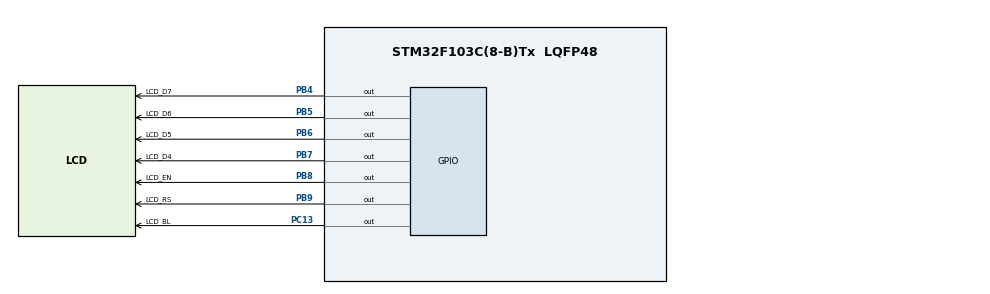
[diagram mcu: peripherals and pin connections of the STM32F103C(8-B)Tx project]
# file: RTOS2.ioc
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FREERTOS.BinarySemaphores01=myLCDSem,Dynamic,NULL,Available
FREERTOS.Tasks01=defaultTask,0,128,StartDefaultTask,Default,NULL,Dynamic,NULL,NULL;myTask02,-3,128,StartTask02,Default,NULL,Dynamic,NULL,NULL
Mcu.Family=STM32F1
Mcu.Name=STM32F103C(8-B)Tx
Mcu.Package=LQFP48
NVIC.PriorityGroup=NVIC_PRIORITYGROUP_4
PB4.GPIO_Label=LCD_D7
PB4.Signal=GPIO_Output
PB5.GPIO_Label=LCD_D6
PB5.Signal=GPIO_Output
PB6.GPIO_Label=LCD_D5
PB6.Signal=GPIO_Output
PB7.GPIO_Label=LCD_D4
PB7.Signal=GPIO_Output
PB8.GPIO_Label=LCD_EN
PB8.Signal=GPIO_Output
PB9.GPIO_Label=LCD_RS
PB9.Signal=GPIO_Output
PC13-TAMPER-RTC.GPIO_Label=LCD_BL
PC13-TAMPER-RTC.Signal=GPIO_Output
PD0-OSC_IN.Mode=HSE-External-Oscillator
PD0-OSC_IN.Signal=RCC_OSC_IN
PD1-OSC_OUT.Mode=HSE-External-Oscillator
PD1-OSC_OUT.Signal=RCC_OSC_OUT
ProjectManager.HeapSize=0x200
ProjectManager.StackSize=0x400
ProjectManager.TargetToolchain=STM32CubeIDE
RCC.APB1Freq_Value=8000000
RCC.APB2Freq_Value=8000000
VP_FREERTOS_VS_CMSIS_V1.Mode=CMSIS_V1
VP_SYS_VS_ND.Mode=No_Debug
board=custom

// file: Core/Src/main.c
/* USER CODE BEGIN Header */
/**
  ******************************************************************************
  * @file           : main.c
  * @brief          : Main program body
  ******************************************************************************
  * @attention
  *
  * Copyright (c) 2026 STMicroelectronics.
  * All rights reserved.
  ******************************************************************************
  */
/* USER CODE END Header */
#include "main.h"
#include "cmsis_os.h"

/* USER CODE BEGIN Includes */
#include <stdio.h>
/* USER CODE END Includes */

osThreadId defaultTaskHandle;
osThreadId myTask02Handle;
osSemaphoreId myLCDSemHandle;
/* USER CODE BEGIN PV */
uint32_t count1 = 0;
uint32_t count2 = 0;
char buf[16];
/* USER CODE END PV */

void SystemClock_Config(void);
static void MX_GPIO_Init(void);
void StartDefaultTask(void const * argument);
void StartTask02(void const * argument);

/* USER CODE BEGIN 0 */

static void lcd_enable_pulse(void)
{
    HAL_GPIO_WritePin(LCD_EN_GPIO_Port, LCD_EN_Pin, GPIO_PIN_SET);
    HAL_Delay(1);
    HAL_GPIO_WritePin(LCD_EN_GPIO_Port, LCD_EN_Pin, GPIO_PIN_RESET);
    HAL_Delay(1);
}

static void lcd_send4(uint8_t nibble)
{
    HAL_GPIO_WritePin(LCD_D4_GPIO_Port, LCD_D4_Pin, (nibble & 0x01) ? GPIO_PIN_SET : GPIO_PIN_RESET);
    HAL_GPIO_WritePin(LCD_D5_GPIO_Port, LCD_D5_Pin, (nibble & 0x02) ? GPIO_PIN_SET : GPIO_PIN_RESET);
    HAL_GPIO_WritePin(LCD_D6_GPIO_Port, LCD_D6_Pin, (nibble & 0x04) ? GPIO_PIN_SET : GPIO_PIN_RESET);
    HAL_GPIO_WritePin(LCD_D7_GPIO_Port, LCD_D7_Pin, (nibble & 0x08) ? GPIO_PIN_SET : GPIO_PIN_RESET);
    lcd_enable_pulse();
}

void lcd_cmd(uint8_t cmd)
{
    HAL_GPIO_WritePin(LCD_RS_GPIO_Port, LCD_RS_Pin, GPIO_PIN_RESET);
    lcd_send4(cmd >> 4);
    lcd_send4(cmd & 0x0F);
    HAL_Delay(2);
}

void lcd_data(uint8_t data)
{
    HAL_GPIO_WritePin(LCD_RS_GPIO_Port, LCD_RS_Pin, GPIO_PIN_SET);
    lcd_send4(data >> 4);
    lcd_send4(data & 0x0F);
    HAL_Delay(1);
}

void lcd_goto(uint8_t row, uint8_t col)
{
    uint8_t address = (row == 0) ? (0x80 + col) : (0xC0 + col);
    lcd_cmd(address);
}

void lcd_puts(char *str)
{
    while (*str)
    {
        lcd_data((uint8_t)*str);
        str++;
    }
}

void lcd_init(void)
{
    HAL_Delay(50);
    HAL_GPIO_WritePin(LCD_RS_GPIO_Port, LCD_RS_Pin, GPIO_PIN_RESET);

    lcd_send4(0x03);
    HAL_Delay(5);
    lcd_send4(0x03);
    HAL_Delay(1);
    lcd_send4(0x03);
    HAL_Delay(1);
    lcd_send4(0x02);
    HAL_Delay(1);

    lcd_cmd(0x28);   // 4-bit, 2-line, 5x8 font
    lcd_cmd(0x0C);   // display ON, cursor OFF
    lcd_cmd(0x06);   // entry mode
    lcd_cmd(0x01);   // clear
    HAL_Delay(5);
}

/* USER CODE END 0 */

int main(void)
{

  /* MCU Configuration--------------------------------------------------------*/

  /* Reset of all peripherals, Initializes the Flash interface and the Systick. */
  HAL_Init();

  /* Configure the system clock */
  SystemClock_Config();

  /* Initialize all configured peripherals */
  MX_GPIO_Init();
  /* USER CODE BEGIN 2 */
  lcd_init();
  HAL_GPIO_WritePin(LCD_BL_GPIO_Port, LCD_BL_Pin, GPIO_PIN_SET);   // backlight on
  /* USER CODE END 2 */

  /* Create the semaphores(s) */
  /* definition and creation of myLCDSem */
  osSemaphoreDef(myLCDSem);
  myLCDSemHandle = osSemaphoreCreate(osSemaphore(myLCDSem), 1);

  /* Create the thread(s) */
  /* definition and creation of defaultTask */
  osThreadDef(defaultTask, StartDefaultTask, osPriorityNormal, 0, 128);
  defaultTaskHandle = osThreadCreate(osThread(defaultTask), NULL);

  /* definition and creation of myTask02 */
  osThreadDef(myTask02, StartTask02, osPriorityIdle, 0, 128);
  myTask02Handle = osThreadCreate(osThread(myTask02), NULL);

  /* Start scheduler */
  osKernelStart();

  /* We should never get here as control is now taken by the scheduler */

  /* Infinite loop */
  while (1)
  {

  }
}

void SystemClock_Config(void)
{
  RCC_OscInitTypeDef RCC_OscInitStruct = {0};
  RCC_ClkInitTypeDef RCC_ClkInitStruct = {0};

  /** Initializes the RCC Oscillators according to the specified parameters
  * in the RCC_OscInitTypeDef structure.
  */
  RCC_OscInitStruct.OscillatorType = RCC_OSCILLATORTYPE_HSI;
  RCC_OscInitStruct.HSIState = RCC_HSI_ON;
  RCC_OscInitStruct.HSICalibrationValue = RCC_HSICALIBRATION_DEFAULT;
  RCC_OscInitStruct.PLL.PLLState = RCC_PLL_NONE;
  if (HAL_RCC_OscConfig(&RCC_OscInitStruct) != HAL_OK)
  {
    Error_Handler();
  }

  /** Initializes the CPU, AHB and APB buses clocks
  */
  RCC_ClkInitStruct.ClockType = RCC_CLOCKTYPE_HCLK|RCC_CLOCKTYPE_SYSCLK
                              |RCC_CLOCKTYPE_PCLK1|RCC_CLOCKTYPE_PCLK2;
  RCC_ClkInitStruct.SYSCLKSource = RCC_SYSCLKSOURCE_HSI;
  RCC_ClkInitStruct.AHBCLKDivider = RCC_SYSCLK_DIV1;
  RCC_ClkInitStruct.APB1CLKDivider = RCC_HCLK_DIV1;
  RCC_ClkInitStruct.APB2CLKDivider = RCC_HCLK_DIV1;

  if (HAL_RCC_ClockConfig(&RCC_ClkInitStruct, FLASH_LATENCY_0) != HAL_OK)
  {
    Error_Handler();
  }
}

static void MX_GPIO_Init(void)
{
  GPIO_InitTypeDef GPIO_InitStruct = {0};

  /* GPIO Ports Clock Enable */
  __HAL_RCC_GPIOC_CLK_ENABLE();
  __HAL_RCC_GPIOD_CLK_ENABLE();
  __HAL_RCC_GPIOB_CLK_ENABLE();

  /*Configure GPIO pin Output Level */
  HAL_GPIO_WritePin(LCD_BL_GPIO_Port, LCD_BL_Pin, GPIO_PIN_RESET);

  /*Configure GPIO pin Output Level */
  HAL_GPIO_WritePin(GPIOB, LCD_D7_Pin|LCD_D6_Pin|LCD_D5_Pin|LCD_D4_Pin
                          |LCD_EN_Pin|LCD_RS_Pin, GPIO_PIN_RESET);

  /*Configure GPIO pin : LCD_BL_Pin */
  GPIO_InitStruct.Pin = LCD_BL_Pin;
  GPIO_InitStruct.Mode = GPIO_MODE_OUTPUT_PP;
  GPIO_InitStruct.Pull = GPIO_NOPULL;
  GPIO_InitStruct.Speed = GPIO_SPEED_FREQ_LOW;
  HAL_GPIO_Init(LCD_BL_GPIO_Port, &GPIO_InitStruct);

  /*Configure GPIO pins : LCD_D7_Pin LCD_D6_Pin LCD_D5_Pin LCD_D4_Pin
                           LCD_EN_Pin LCD_RS_Pin */
  GPIO_InitStruct.Pin = LCD_D7_Pin|LCD_D6_Pin|LCD_D5_Pin|LCD_D4_Pin
                          |LCD_EN_Pin|LCD_RS_Pin;
  GPIO_InitStruct.Mode = GPIO_MODE_OUTPUT_PP;
  GPIO_InitStruct.Pull = GPIO_NOPULL;
  GPIO_InitStruct.Speed = GPIO_SPEED_FREQ_LOW;
  HAL_GPIO_Init(GPIOB, &GPIO_InitStruct);

}

void StartDefaultTask(void const * argument)
{
  /* USER CODE BEGIN 5 */
  for(;;)
  {
    count1++;
    sprintf(buf, "R1: %4lu", count1);
    lcd_goto(0, 0);
    lcd_puts(buf);
    osDelay(500);
  }
  /* USER CODE END 5 */
}

void StartTask02(void const * argument)
{
  /* USER CODE BEGIN StartTask02 */
  for(;;)
  {
    count2++;
    sprintf(buf, "R2: %4lu", count2);
    lcd_goto(1, 0);
    lcd_puts(buf);
    osDelay(1000);
  }
  /* USER CODE END StartTask02 */
}

void Error_Handler(void)
{
  __disable_irq();
  while (1)
  {
  }
}
